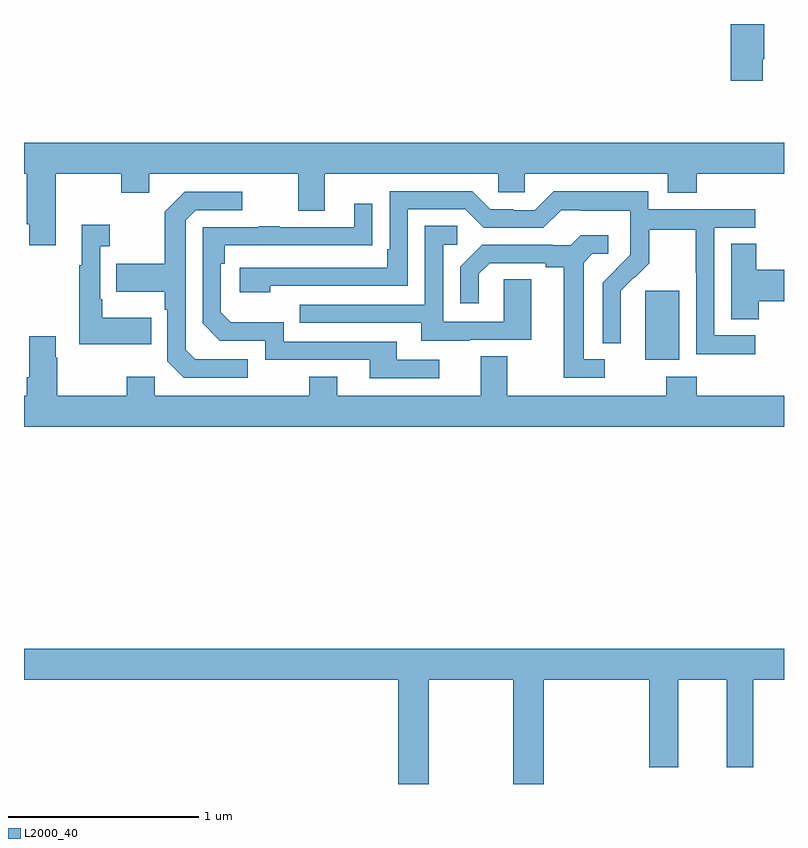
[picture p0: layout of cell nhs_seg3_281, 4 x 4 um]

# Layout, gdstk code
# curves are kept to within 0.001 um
import gdstk
lib = gdstk.Library(unit=1e-6, precision=1e-09)
def R(c, l, rs):  # rectangles x0, y0, x1, y1
    for r in rs: c.add(gdstk.rectangle(r[:2], r[2:], *l))
def P(c, l, *ps):  # polygons
    for p in ps: c.add(gdstk.Polygon(p, *l))
L2000_40 = (2000, 40)

nhs_seg3_281 = lib.new_cell('nhs_seg3_281')
R(nhs_seg3_281, L2000_40, [(128.27,670.634,128.449,670.995)])
P(nhs_seg3_281, L2000_40, [(128.887,672.214),(128.895,672.214),(128.895,672.4),(128.72,672.4),(128.72,672.102),(128.887,672.102)],
  [(125.167,671.612),(125.512,671.612),(125.512,671.513),(125.659,671.513),(125.659,671.612),(126.443,671.612),(126.443,671.418),(126.583,671.418),(126.583,671.612),(127.497,671.612),(127.497,671.514),(127.635,671.514),(127.635,671.612),(128.387,671.612),(128.387,671.513),(128.54,671.513),(128.54,671.612),(129,671.612),(129,671.776),(125,671.776),(125,671.612),(125.015,671.612),(125.015,671.347),(125.027,671.347),(125.027,671.235),(125.167,671.235)],
  [(128.848,670.761),(128.634,670.761),(128.634,671.328),(128.848,671.328),(128.848,671.424),(128.286,671.424),(128.286,671.521),(127.789,671.521),(127.689,671.421),(127.574,671.421),(127.574,671.424),(127.455,671.424),(127.359,671.52),(126.924,671.52),(126.924,671.215),(126.911,671.215),(126.911,671.118),(126.135,671.118),(126.135,670.988),(126.296,670.988),(126.296,671.022),(127.02,671.022),(127.02,671.424),(127.323,671.424),(127.419,671.328),(127.734,671.328),(127.827,671.421),(127.927,671.421),(127.927,671.417),(128.19,671.417),(128.19,671.283),(128.192,671.283),(128.192,671.186),(128.046,671.038),(128.046,670.72),(128.142,670.72),(128.141,670.997),(128.211,671.067),(128.214,671.064),(128.291,671.141),(128.291,671.316),(128.536,671.316),(128.536,671.092),(128.538,671.092),(128.538,670.663),(128.848,670.663)],
  [(126.178,670.635),(125.901,670.635),(125.85,670.686),(125.85,671.367),(125.904,671.421),(126.148,671.421),(126.148,671.517),(125.847,671.517),(125.742,671.411),(125.742,671.139),(125.485,671.139),(125.485,670.991),(125.742,670.991),(125.742,670.895),(125.754,670.895),(125.754,670.626),(125.841,670.539),(126.178,670.539)],
  [(127.186,670.632),(126.961,670.632),(126.961,670.728),(126.366,670.728),(126.366,670.831),(126.089,670.831),(126.036,670.884),(126.036,671.138),(126.056,671.138),(126.056,671.235),(126.833,671.236),(126.833,671.455),(126.737,671.455),(126.737,671.331),(126.347,671.331),(126.347,671.336),(126.235,671.336),(126.235,671.331),(125.94,671.331),(125.94,670.824),(126.03,670.734),(126.27,670.734),(126.27,670.632),(126.821,670.632),(126.821,670.536),(127.186,670.536)],
  [(125.669,670.855),(125.413,670.855),(125.413,670.951),(125.4,670.951),(125.4,671.231),(125.452,671.231),(125.452,671.344),(125.303,671.344),(125.303,671.131),(125.292,671.131),(125.292,670.715),(125.669,670.715)],
  [(127.345,670.737),(127.669,670.737),(127.669,671.057),(127.524,671.057),(127.524,670.833),(127.206,670.833),(127.206,671.238),(127.279,671.238),(127.279,671.339),(127.11,671.339),(127.11,670.923),(126.451,670.923),(126.451,670.827),(127.091,670.827),(127.091,670.733),(127.345,670.733)],
  [(128.056,670.635),(127.945,670.635),(127.945,671.143),(127.992,671.19),(128.074,671.19),(128.074,671.287),(127.93,671.287),(127.878,671.235),(127.784,671.235),(127.784,671.238),(127.412,671.238),(127.296,671.122),(127.296,670.929),(127.393,670.929),(127.393,671.085),(127.45,671.142),(127.745,671.142),(127.745,671.12),(127.841,671.12),(127.841,670.539),(128.056,670.539)],
  [(128.867,670.942),(129,670.942),(129,671.107),(128.854,671.107),(128.854,671.243),(128.723,671.243),(128.723,670.846),(128.867,670.846)],
  [(129,670.444),(128.54,670.444),(128.54,670.543),(128.38,670.543),(128.38,670.444),(127.543,670.444),(127.543,670.652),(127.403,670.652),(127.403,670.444),(126.649,670.444),(126.649,670.543),(126.502,670.543),(126.502,670.444),(125.688,670.444),(125.688,670.543),(125.542,670.543),(125.542,670.444),(125.175,670.444),(125.175,670.643),(125.167,670.643),(125.167,670.756),(125.027,670.756),(125.027,670.54),(125.015,670.54),(125.015,670.444),(125,670.444),(125,670.28),(129,670.28)],
  [(127.131,668.948),(127.576,668.948),(127.576,668.4),(127.736,668.4),(127.736,668.948),(128.291,668.948),(128.291,668.487),(128.443,668.487),(128.443,668.948),(128.699,668.948),(128.699,668.487),(128.839,668.487),(128.839,668.948),(129,668.948),(129,669.112),(125,669.112),(125,668.948),(126.971,668.948),(126.971,668.4),(127.131,668.4)])

lib.write_gds('nhs_seg3_281.gds')
